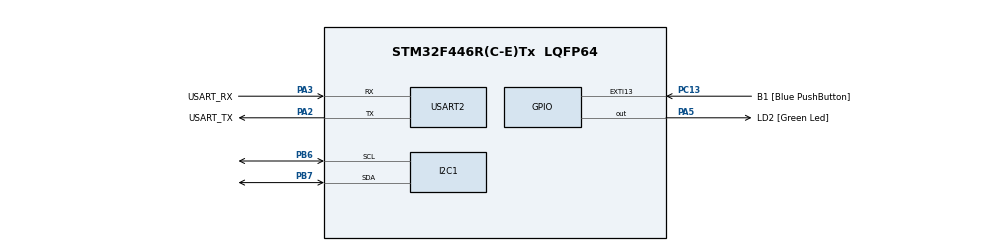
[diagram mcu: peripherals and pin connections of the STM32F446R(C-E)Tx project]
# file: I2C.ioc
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Mcu.Family=STM32F4
Mcu.Name=STM32F446R(C-E)Tx
Mcu.Package=LQFP64
NVIC.PriorityGroup=NVIC_PRIORITYGROUP_0
PA13.GPIO_Label=TMS
PA13.Mode=Serial_Wire
PA13.Signal=SYS_JTMS-SWDIO
PA14.GPIO_Label=TCK
PA14.Mode=Serial_Wire
PA14.Signal=SYS_JTCK-SWCLK
PA2.GPIO_Label=USART_TX
PA2.Mode=Asynchronous
PA2.Signal=USART2_TX
PA3.GPIO_Label=USART_RX
PA3.Mode=Asynchronous
PA3.Signal=USART2_RX
PA5.GPIO_Label=LD2 [Green Led]
PA5.Signal=GPIO_Output
PB3.GPIO_Label=SWO
PB3.Signal=SYS_JTDO-SWO
PB6.GPIO_Pu=GPIO_PULLUP
PB6.GPIO_Speed=GPIO_SPEED_FREQ_HIGH
PB6.Mode=I2C
PB6.Signal=I2C1_SCL
PB7.GPIO_Pu=GPIO_PULLUP
PB7.GPIO_Speed=GPIO_SPEED_FREQ_HIGH
PB7.Mode=I2C
PB7.Signal=I2C1_SDA
PC13.GPIO_Label=B1 [Blue PushButton]
PC13.GPIO_ModeDefaultEXTI=GPIO_MODE_IT_FALLING
PC13.Signal=GPXTI13
PC14-OSC32_IN.Mode=LSE-External-Oscillator
PC14-OSC32_IN.Signal=RCC_OSC32_IN
PC15-OSC32_OUT.Mode=LSE-External-Oscillator
PC15-OSC32_OUT.Signal=RCC_OSC32_OUT
PH0-OSC_IN.Mode=HSE-External-Oscillator
PH0-OSC_IN.Signal=RCC_OSC_IN
PH1-OSC_OUT.Mode=HSE-External-Oscillator
PH1-OSC_OUT.Signal=RCC_OSC_OUT
ProjectManager.HeapSize=0x200
ProjectManager.StackSize=0x400
ProjectManager.TargetToolchain=STM32CubeIDE
RCC.48MHZClocksFreq_Value=84000000
RCC.AHBFreq_Value=84000000
RCC.APB1CLKDivider=RCC_HCLK_DIV2
RCC.APB1Freq_Value=42000000
RCC.APB1TimFreq_Value=84000000
RCC.APB2Freq_Value=84000000
RCC.APB2TimFreq_Value=84000000
RCC.CortexFreq_Value=84000000
RCC.FLatency-AdvancedSettings=FLASH_LATENCY_2
RCC.HCLKFreq_Value=84000000
RCC.HSE_VALUE=8000000
RCC.HSI_VALUE=16000000
RCC.PLLN=336
RCC.PLLP=RCC_PLLP_DIV4
RCC.SYSCLKFreq_VALUE=84000000
RCC.SYSCLKSource=RCC_SYSCLKSOURCE_PLLCLK
RCC.USBFreq_Value=168000000
RCC.VCOOutputFreq_Value=336000000
USART2.VirtualMode=VM_ASYNC
board=NUCLEO-F446RE

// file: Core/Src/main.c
/* USER CODE BEGIN Header */
/**
  ******************************************************************************
  * @file           : main.c
  * @brief          : Main program body
  ******************************************************************************
  * @attention
  *
  * Copyright (c) 2025 STMicroelectronics.
  * All rights reserved.
  *
  * This software is licensed under terms that can be found in the LICENSE file
  * in the root directory of this software component.
  * If no LICENSE file comes with this software, it is provided AS-IS.
  *
  ******************************************************************************
  */
/* USER CODE END Header */
#include "main.h"

void SystemClock_Config(void);
static void MX_GPIO_Init(void);
static void MX_USART2_UART_Init(void);
static void MX_I2C1_Init(void);
/* USER CODE BEGIN PFP */

// define I2C functions
int I2C_Write(uint8_t addr, uint8_t* data, uint16_t length);
int I2C_Read(uint8_t addr, uint8_t* data, uint16_t length);

/* USER CODE END PFP */

/* USER CODE BEGIN 0 */

// implement the I2C functions
int I2C_Write(uint8_t addr, uint8_t* data, uint16_t length)
{

	// wait for I2C peripheral to be ready
	while (I2C1->SR2 & I2C_SR2_BUSY);		// checks I2C_SR2_BSY to see if peripheral is currently busy

	// generate a START condition
	I2C1->CR1 |= I2C_CR1_START;				// sets I2C_CR1_START bit
	// wait for START bit to be set
	while (!(I2C1->SR1 & I2C_SR1_SB));		// checks I2C_SR1_SB to see if start condition is generated

	// send the slave address with the write bit (0)
	I2C1->DR = (addr << 1);					// shifts address for 7-bit addressing
	// wait for address to be sent
	while (!(I2C1->SR1 & I2C_SR1_ADDR));	// checks I2C_SR1_ADDR to see if address was received and matches

	// clear the ADDR bit
	volatile uint32_t temp = I2C1->SR2;

	// transmit data byte by byte
	for (uint16_t i = 0; i < length; i++)
	{
		// wait until the data register is empty
		while (!(I2C1->SR1 & I2C_SR1_TXE));	// checks I2C_SR1_TXE to see if data register is empty

		// send data byte
		I2C1->DR = data[i];
	}

	// wait for transmission to finish
	while(!(I2C1->SR1 & I2C_SR1_BTF));		// checks I2C_SR1_BTF to see if data transfer was successful

	// generate stop condition
	I2C1->CR1 |= I2C_CR1_STOP;

	return 0;

}

int I2C_Read(uint8_t addr, uint8_t* data, uint16_t length)
{
	// wait for I2C peripheral to be ready
	while (I2C1->SR2 & I2C_SR2_BUSY);

	// generate a START condition
	I2C1->CR1 |= I2C_CR1_START;
	// wait for START bit to be set
	while(!(I2C1->SR1 & I2C_SR1_SB));

	// send slave address with read bit (1)
	I2C1->DR = (addr << 1) | 1;
	// check is address was sent successfully
	while(!(I2C1->SR1 & I2C_SR1_ADDR));

	// clear the ADDR bit
	volatile uint32_t temp = I2C1->SR2;

	// receieve data byte by byte
	for (uint16_t i = 0; i < length; i++)
	{
		// wait until data is received
		while (!(I2C1->SR1 & I2C_SR1_RXNE));	// checks I2C_SR1_RXNE to see if data register is not empty
		// read received byte
		data[i] = I2C1->DR;
	}

	// generate a STOP condition
	I2C1->CR1 |= I2C_CR1_STOP;

	return 0;

}

/* USER CODE END 0 */

int main(void)
{

  /* MCU Configuration--------------------------------------------------------*/

  /* Reset of all peripherals, Initializes the Flash interface and the Systick. */
  LL_APB2_GRP1_EnableClock(LL_APB2_GRP1_PERIPH_SYSCFG);
  LL_APB1_GRP1_EnableClock(LL_APB1_GRP1_PERIPH_PWR);

  /* System interrupt init*/
  NVIC_SetPriorityGrouping(NVIC_PRIORITYGROUP_0);

  /* Configure the system clock */
  SystemClock_Config();

  /* Initialize all configured peripherals */
  MX_GPIO_Init();
  MX_USART2_UART_Init();
  MX_I2C1_Init();
  /* USER CODE BEGIN 2 */

  // Enable clock for GPIOB (PB6 and PB7)
  	  // AHB is used for high speed peripherals and memory access
  // RCC->AHB1ENR |= RCC_AHB1ENR_GPIOBEN;
  // Enable clock for I2C1
  	  // APB is used for low speed peripherals
  // RCC->APB1ENR |= RCC_APB1ENR_I2C1EN;

  /* USER CODE END 2 */

  /* Infinite loop */
  while (1)
  {

  }
}

void SystemClock_Config(void)
{
  LL_FLASH_SetLatency(LL_FLASH_LATENCY_2);
  while(LL_FLASH_GetLatency()!= LL_FLASH_LATENCY_2)
  {
  }
  LL_PWR_SetRegulVoltageScaling(LL_PWR_REGU_VOLTAGE_SCALE3);
  LL_PWR_DisableOverDriveMode();
  LL_RCC_HSI_SetCalibTrimming(16);
  LL_RCC_HSI_Enable();

   /* Wait till HSI is ready */
  while(LL_RCC_HSI_IsReady() != 1)
  {

  }
  LL_RCC_PLL_ConfigDomain_SYS(LL_RCC_PLLSOURCE_HSI, LL_RCC_PLLM_DIV_16, 336, LL_RCC_PLLP_DIV_4);
  LL_RCC_PLL_Enable();

   /* Wait till PLL is ready */
  while(LL_RCC_PLL_IsReady() != 1)
  {

  }
  while (LL_PWR_IsActiveFlag_VOS() == 0)
  {
  }
  LL_RCC_SetAHBPrescaler(LL_RCC_SYSCLK_DIV_1);
  LL_RCC_SetAPB1Prescaler(LL_RCC_APB1_DIV_2);
  LL_RCC_SetAPB2Prescaler(LL_RCC_APB2_DIV_1);
  LL_RCC_SetSysClkSource(LL_RCC_SYS_CLKSOURCE_PLL);

   /* Wait till System clock is ready */
  while(LL_RCC_GetSysClkSource() != LL_RCC_SYS_CLKSOURCE_STATUS_PLL)
  {

  }
  LL_Init1msTick(84000000);
  LL_SetSystemCoreClock(84000000);
  LL_RCC_SetTIMPrescaler(LL_RCC_TIM_PRESCALER_TWICE);
}

static void MX_I2C1_Init(void)
{

  LL_I2C_InitTypeDef I2C_InitStruct = {0};

  LL_GPIO_InitTypeDef GPIO_InitStruct = {0};

  LL_AHB1_GRP1_EnableClock(LL_AHB1_GRP1_PERIPH_GPIOB);
  /**I2C1 GPIO Configuration
  PB6   ------> I2C1_SCL
  PB7   ------> I2C1_SDA
  */
  GPIO_InitStruct.Pin = LL_GPIO_PIN_6|LL_GPIO_PIN_7;
  GPIO_InitStruct.Mode = LL_GPIO_MODE_ALTERNATE;
  GPIO_InitStruct.Speed = LL_GPIO_SPEED_FREQ_HIGH;
  GPIO_InitStruct.OutputType = LL_GPIO_OUTPUT_OPENDRAIN;
  GPIO_InitStruct.Pull = LL_GPIO_PULL_UP;
  GPIO_InitStruct.Alternate = LL_GPIO_AF_4;
  LL_GPIO_Init(GPIOB, &GPIO_InitStruct);

  /* Peripheral clock enable */
  LL_APB1_GRP1_EnableClock(LL_APB1_GRP1_PERIPH_I2C1);

  /** I2C Initialization
  */
  LL_I2C_DisableOwnAddress2(I2C1);
  LL_I2C_DisableGeneralCall(I2C1);
  LL_I2C_EnableClockStretching(I2C1);
  I2C_InitStruct.PeripheralMode = LL_I2C_MODE_I2C;
  I2C_InitStruct.ClockSpeed = 100000;
  I2C_InitStruct.DutyCycle = LL_I2C_DUTYCYCLE_2;
  I2C_InitStruct.OwnAddress1 = 0;
  I2C_InitStruct.TypeAcknowledge = LL_I2C_ACK;
  I2C_InitStruct.OwnAddrSize = LL_I2C_OWNADDRESS1_7BIT;
  LL_I2C_Init(I2C1, &I2C_InitStruct);
  LL_I2C_SetOwnAddress2(I2C1, 0);

}

static void MX_USART2_UART_Init(void)
{

  LL_USART_InitTypeDef USART_InitStruct = {0};

  LL_GPIO_InitTypeDef GPIO_InitStruct = {0};

  /* Peripheral clock enable */
  LL_APB1_GRP1_EnableClock(LL_APB1_GRP1_PERIPH_USART2);

  LL_AHB1_GRP1_EnableClock(LL_AHB1_GRP1_PERIPH_GPIOA);
  /**USART2 GPIO Configuration
  PA2   ------> USART2_TX
  PA3   ------> USART2_RX
  */
  GPIO_InitStruct.Pin = USART_TX_Pin|USART_RX_Pin;
  GPIO_InitStruct.Mode = LL_GPIO_MODE_ALTERNATE;
  GPIO_InitStruct.Speed = LL_GPIO_SPEED_FREQ_VERY_HIGH;
  GPIO_InitStruct.OutputType = LL_GPIO_OUTPUT_PUSHPULL;
  GPIO_InitStruct.Pull = LL_GPIO_PULL_NO;
  GPIO_InitStruct.Alternate = LL_GPIO_AF_7;
  LL_GPIO_Init(GPIOA, &GPIO_InitStruct);

  USART_InitStruct.BaudRate = 115200;
  USART_InitStruct.DataWidth = LL_USART_DATAWIDTH_8B;
  USART_InitStruct.StopBits = LL_USART_STOPBITS_1;
  USART_InitStruct.Parity = LL_USART_PARITY_NONE;
  USART_InitStruct.TransferDirection = LL_USART_DIRECTION_TX_RX;
  USART_InitStruct.HardwareFlowControl = LL_USART_HWCONTROL_NONE;
  USART_InitStruct.OverSampling = LL_USART_OVERSAMPLING_16;
  LL_USART_Init(USART2, &USART_InitStruct);
  LL_USART_ConfigAsyncMode(USART2);
  LL_USART_Enable(USART2);

}

static void MX_GPIO_Init(void)
{
  LL_EXTI_InitTypeDef EXTI_InitStruct = {0};
  LL_GPIO_InitTypeDef GPIO_InitStruct = {0};

  /* GPIO Ports Clock Enable */
  LL_AHB1_GRP1_EnableClock(LL_AHB1_GRP1_PERIPH_GPIOC);
  LL_AHB1_GRP1_EnableClock(LL_AHB1_GRP1_PERIPH_GPIOH);
  LL_AHB1_GRP1_EnableClock(LL_AHB1_GRP1_PERIPH_GPIOA);
  LL_AHB1_GRP1_EnableClock(LL_AHB1_GRP1_PERIPH_GPIOB);

  /**/
  LL_GPIO_ResetOutputPin(LD2_GPIO_Port, LD2_Pin);

  /**/
  LL_SYSCFG_SetEXTISource(LL_SYSCFG_EXTI_PORTC, LL_SYSCFG_EXTI_LINE13);

  /**/
  EXTI_InitStruct.Line_0_31 = LL_EXTI_LINE_13;
  EXTI_InitStruct.LineCommand = ENABLE;
  EXTI_InitStruct.Mode = LL_EXTI_MODE_IT;
  EXTI_InitStruct.Trigger = LL_EXTI_TRIGGER_FALLING;
  LL_EXTI_Init(&EXTI_InitStruct);

  /**/
  LL_GPIO_SetPinPull(B1_GPIO_Port, B1_Pin, LL_GPIO_PULL_NO);

  /**/
  LL_GPIO_SetPinMode(B1_GPIO_Port, B1_Pin, LL_GPIO_MODE_INPUT);

  /**/
  GPIO_InitStruct.Pin = LD2_Pin;
  GPIO_InitStruct.Mode = LL_GPIO_MODE_OUTPUT;
  GPIO_InitStruct.Speed = LL_GPIO_SPEED_FREQ_LOW;
  GPIO_InitStruct.OutputType = LL_GPIO_OUTPUT_PUSHPULL;
  GPIO_InitStruct.Pull = LL_GPIO_PULL_NO;
  LL_GPIO_Init(LD2_GPIO_Port, &GPIO_InitStruct);

}

void Error_Handler(void)
{
  __disable_irq();
  while (1)
  {
  }
}
